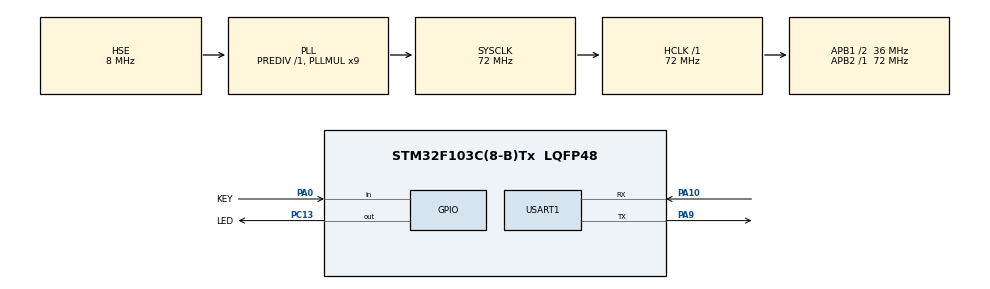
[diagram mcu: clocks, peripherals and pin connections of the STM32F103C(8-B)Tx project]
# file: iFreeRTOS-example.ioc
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FREERTOS.BinarySemaphores01=myBinarySem01,Dynamic,NULL
FREERTOS.CountingSemaphores01=myCountingSem01,2,Dynamic,NULL
FREERTOS.INCLUDE_vTaskDelayUntil=1
FREERTOS.INCLUDE_xQueueGetMutexHolder=1
FREERTOS.INCLUDE_xTimerPendFunctionCall=1
FREERTOS.Mutexes01=myMutex01,Dynamic,NULL
FREERTOS.Queues01=myQueue01,16,uint16_t,0,Dynamic,NULL,NULL
FREERTOS.Tasks01=defaultTask,0,128,StartDefaultTask,Default,NULL,Dynamic,NULL,NULL;LED,0,128,LedTask,Default,NULL,Dynamic,NULL,NULL;LED_Co,-2,128,LedTaskCo,Default,NULL,Dynamic,NULL,NULL;KEY,0,128,KeyTask,Default,NULL,Dynamic,NULL,NULL
FREERTOS.Timers01=myTimer01,Callback01,osTimerPeriodic,Default,NULL,Dynamic,NULL;myTimer02,Callback02,osTimerPeriodic,Default,NULL,Dynamic,NULL
FREERTOS.configUSE_COUNTING_SEMAPHORES=1
FREERTOS.configUSE_TIMERS=1
Mcu.Family=STM32F1
Mcu.Name=STM32F103C(8-B)Tx
Mcu.Package=LQFP48
NVIC.PriorityGroup=NVIC_PRIORITYGROUP_4
NVIC.TIM2_IRQn=true\:15\:0\:false\:false\:true\:false\:false\:true\:true
NVIC.TIM3_IRQn=true\:7\:0\:true\:false\:true\:true\:true\:true\:true
NVIC.TIM4_IRQn=true\:1\:0\:true\:false\:true\:false\:true\:true\:true
NVIC.TimeBase=TIM2_IRQn
NVIC.TimeBaseIP=TIM2
PA0-WKUP.GPIO_Label=KEY
PA0-WKUP.GPIO_PuPd=GPIO_PULLUP
PA0-WKUP.Signal=GPIO_Input
PA10.Mode=Asynchronous
PA10.Signal=USART1_RX
PA13.Mode=Serial_Wire
PA13.Signal=SYS_JTMS-SWDIO
PA14.Mode=Serial_Wire
PA14.Signal=SYS_JTCK-SWCLK
PA9.Mode=Asynchronous
PA9.Signal=USART1_TX
PC13-TAMPER-RTC.GPIO_Label=LED
PC13-TAMPER-RTC.GPIO_Speed=GPIO_SPEED_FREQ_HIGH
PC13-TAMPER-RTC.Signal=GPIO_Output
PC14-OSC32_IN.Mode=LSE-External-Oscillator
PC14-OSC32_IN.Signal=RCC_OSC32_IN
PC15-OSC32_OUT.Mode=LSE-External-Oscillator
PC15-OSC32_OUT.Signal=RCC_OSC32_OUT
PD0-OSC_IN.Mode=HSE-External-Oscillator
PD0-OSC_IN.Signal=RCC_OSC_IN
PD1-OSC_OUT.Mode=HSE-External-Oscillator
PD1-OSC_OUT.Signal=RCC_OSC_OUT
ProjectManager.HeapSize=0x200
ProjectManager.StackSize=0x400
ProjectManager.TargetToolchain=STM32CubeIDE
RCC.AHBFreq_Value=72000000
RCC.APB1CLKDivider=RCC_HCLK_DIV2
RCC.APB1Freq_Value=36000000
RCC.APB1TimFreq_Value=72000000
RCC.APB2Freq_Value=72000000
RCC.APB2TimFreq_Value=72000000
RCC.HCLKFreq_Value=72000000
RCC.PLLMUL=RCC_PLL_MUL9
RCC.PLLSourceVirtual=RCC_PLLSOURCE_HSE
RCC.SYSCLKFreq_VALUE=72000000
RCC.SYSCLKSource=RCC_SYSCLKSOURCE_PLLCLK
RCC.USBFreq_Value=72000000
TIM3.Period=7200-1
TIM3.Prescaler=5000-1
TIM4.Period=7200-1
TIM4.Prescaler=10000-1
USART1.VirtualMode=VM_ASYNC
VP_FREERTOS_VS_CMSIS_V1.Mode=CMSIS_V1
VP_SYS_VS_tim2.Mode=TIM2
VP_TIM3_VS_ClockSourceINT.Mode=Internal
VP_TIM4_VS_ClockSourceINT.Mode=Internal
board=custom

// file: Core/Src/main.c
/* USER CODE BEGIN Header */
/**
  ******************************************************************************
  * @file           : main.c
  * @brief          : Main program body
  ******************************************************************************
  * @attention
  *
  * Copyright (c) 2023 STMicroelectronics.
  * All rights reserved.
  *
  * This software is licensed under terms that can be found in the LICENSE file
  * in the root directory of this software component.
  * If no LICENSE file comes with this software, it is provided AS-IS.
  *
  ******************************************************************************
  */
/* USER CODE END Header */
#include "main.h"
#include "cmsis_os.h"
#include "tim.h"
#include "usart.h"
#include "gpio.h"

/* USER CODE BEGIN Includes */
#include "retarget.h"
/* USER CODE END Includes */

void SystemClock_Config(void);
void MX_FREERTOS_Init(void);

int main(void)
{

  /* MCU Configuration--------------------------------------------------------*/

  /* Reset of all peripherals, Initializes the Flash interface and the Systick. */
  HAL_Init();

  /* Configure the system clock */
  SystemClock_Config();

  /* Initialize all configured peripherals */
  MX_GPIO_Init();
  MX_USART1_UART_Init();
  MX_TIM3_Init();
  MX_TIM4_Init();
  /* USER CODE BEGIN 2 */
  RetargetInit(&huart1); //重定向printf
  HAL_TIM_Base_Start_IT(&htim3); // 开启TIM3中断
  HAL_TIM_Base_Start_IT(&htim4);
  /* USER CODE END 2 */

  /* Call init function for freertos objects (in freertos.c) */
  MX_FREERTOS_Init();

  /* Start scheduler */
  osKernelStart();

  /* We should never get here as control is now taken by the scheduler */
  /* Infinite loop */
  while (1)
  {

  }
}

void SystemClock_Config(void)
{
  RCC_OscInitTypeDef RCC_OscInitStruct = {0};
  RCC_ClkInitTypeDef RCC_ClkInitStruct = {0};

  /** Initializes the RCC Oscillators according to the specified parameters
  * in the RCC_OscInitTypeDef structure.
  */
  RCC_OscInitStruct.OscillatorType = RCC_OSCILLATORTYPE_HSE;
  RCC_OscInitStruct.HSEState = RCC_HSE_ON;
  RCC_OscInitStruct.HSEPredivValue = RCC_HSE_PREDIV_DIV1;
  RCC_OscInitStruct.HSIState = RCC_HSI_ON;
  RCC_OscInitStruct.PLL.PLLState = RCC_PLL_ON;
  RCC_OscInitStruct.PLL.PLLSource = RCC_PLLSOURCE_HSE;
  RCC_OscInitStruct.PLL.PLLMUL = RCC_PLL_MUL9;
  if (HAL_RCC_OscConfig(&RCC_OscInitStruct) != HAL_OK)
  {
    Error_Handler();
  }

  /** Initializes the CPU, AHB and APB buses clocks
  */
  RCC_ClkInitStruct.ClockType = RCC_CLOCKTYPE_HCLK|RCC_CLOCKTYPE_SYSCLK
                              |RCC_CLOCKTYPE_PCLK1|RCC_CLOCKTYPE_PCLK2;
  RCC_ClkInitStruct.SYSCLKSource = RCC_SYSCLKSOURCE_PLLCLK;
  RCC_ClkInitStruct.AHBCLKDivider = RCC_SYSCLK_DIV1;
  RCC_ClkInitStruct.APB1CLKDivider = RCC_HCLK_DIV2;
  RCC_ClkInitStruct.APB2CLKDivider = RCC_HCLK_DIV1;

  if (HAL_RCC_ClockConfig(&RCC_ClkInitStruct, FLASH_LATENCY_2) != HAL_OK)
  {
    Error_Handler();
  }
}

void HAL_TIM_PeriodElapsedCallback(TIM_HandleTypeDef *htim)
{
  if (htim->Instance == TIM2) {
    HAL_IncTick();
  }
  /* USER CODE BEGIN Callback 1 */

  if (htim->Instance == TIM3) {
    printf("TIM3\r\n");
  }

  if (htim->Instance == TIM4) {
	printf("TIM4\r\n");
  }
  /* USER CODE END Callback 1 */
}

void Error_Handler(void)
{
  __disable_irq();
  while (1)
  {
  }
}

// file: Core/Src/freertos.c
/* USER CODE BEGIN Header */
/**
  ******************************************************************************
  * File Name          : freertos.c
  * Description        : Code for freertos applications
  ******************************************************************************
  * @attention
  *
  * Copyright (c) 2023 STMicroelectronics.
  * All rights reserved.
  *
  * This software is licensed under terms that can be found in the LICENSE file
  * in the root directory of this software component.
  * If no LICENSE file comes with this software, it is provided AS-IS.
  *
  ******************************************************************************
  */
/* USER CODE END Header */

#include "FreeRTOS.h"
#include "task.h"
#include "main.h"
#include "cmsis_os.h"

/* USER CODE BEGIN Includes */
#include "retarget.h"
/* USER CODE END Includes */

osThreadId defaultTaskHandle;
osThreadId LEDHandle;
osThreadId LED_CoHandle;
osThreadId KEYHandle;
osMessageQId myQueue01Handle;
osTimerId myTimer01Handle;
osTimerId myTimer02Handle;
osMutexId myMutex01Handle;
osSemaphoreId myBinarySem01Handle;
osSemaphoreId myCountingSem01Handle;

/* USER CODE BEGIN FunctionPrototypes */

EventGroupHandle_t Event_Handle =NULL; //事件组句柄

/* USER CODE END FunctionPrototypes */

void StartDefaultTask(void const * argument);
void LedTask(void const * argument);
void LedTaskCo(void const * argument);
void KeyTask(void const * argument);
void Callback01(void const * argument);
void Callback02(void const * argument);

void MX_FREERTOS_Init(void); /* (MISRA C 2004 rule 8.1) */

/* GetIdleTaskMemory prototype (linked to static allocation support) */
void vApplicationGetIdleTaskMemory( StaticTask_t **ppxIdleTaskTCBBuffer, StackType_t **ppxIdleTaskStackBuffer, uint32_t *pulIdleTaskStackSize );

/* GetTimerTaskMemory prototype (linked to static allocation support) */
void vApplicationGetTimerTaskMemory( StaticTask_t **ppxTimerTaskTCBBuffer, StackType_t **ppxTimerTaskStackBuffer, uint32_t *pulTimerTaskStackSize );

/* USER CODE BEGIN GET_IDLE_TASK_MEMORY */
static StaticTask_t xIdleTaskTCBBuffer;
static StackType_t xIdleStack[configMINIMAL_STACK_SIZE];

void vApplicationGetIdleTaskMemory( StaticTask_t **ppxIdleTaskTCBBuffer, StackType_t **ppxIdleTaskStackBuffer, uint32_t *pulIdleTaskStackSize )
{
  *ppxIdleTaskTCBBuffer = &xIdleTaskTCBBuffer;
  *ppxIdleTaskStackBuffer = &xIdleStack[0];
  *pulIdleTaskStackSize = configMINIMAL_STACK_SIZE;
  /* place for user code */
}
/* USER CODE END GET_IDLE_TASK_MEMORY */

/* USER CODE BEGIN GET_TIMER_TASK_MEMORY */
static StaticTask_t xTimerTaskTCBBuffer;
static StackType_t xTimerStack[configTIMER_TASK_STACK_DEPTH];

void vApplicationGetTimerTaskMemory( StaticTask_t **ppxTimerTaskTCBBuffer, StackType_t **ppxTimerTaskStackBuffer, uint32_t *pulTimerTaskStackSize )
{
  *ppxTimerTaskTCBBuffer = &xTimerTaskTCBBuffer;
  *ppxTimerTaskStackBuffer = &xTimerStack[0];
  *pulTimerTaskStackSize = configTIMER_TASK_STACK_DEPTH;
  /* place for user code */
}
/* USER CODE END GET_TIMER_TASK_MEMORY */

void MX_FREERTOS_Init(void) {
  /* Create the mutex(es) */
  /* definition and creation of myMutex01 */
  osMutexDef(myMutex01);
  myMutex01Handle = osMutexCreate(osMutex(myMutex01));

  /* Create the semaphores(s) */
  /* definition and creation of myBinarySem01 */
  osSemaphoreDef(myBinarySem01);
  myBinarySem01Handle = osSemaphoreCreate(osSemaphore(myBinarySem01), 1);

  /* definition and creation of myCountingSem01 */
  osSemaphoreDef(myCountingSem01);
  myCountingSem01Handle = osSemaphoreCreate(osSemaphore(myCountingSem01), 2);

  /* Create the timer(s) */
  /* definition and creation of myTimer01 */
  osTimerDef(myTimer01, Callback01);
  myTimer01Handle = osTimerCreate(osTimer(myTimer01), osTimerPeriodic, NULL);

  /* definition and creation of myTimer02 */
  osTimerDef(myTimer02, Callback02);
  myTimer02Handle = osTimerCreate(osTimer(myTimer02), osTimerPeriodic, NULL);

  /* USER CODE BEGIN RTOS_TIMERS */
  /* start timers, add new ones, ... */
  xTimerChangePeriod(myTimer01Handle, 500, 200); // 修改定时器1周期：500ms, 发送队列等待时间200ms（任填）
  xTimerChangePeriod(myTimer02Handle, 1000, 200);
  /* USER CODE END RTOS_TIMERS */

  /* Create the queue(s) */
  /* definition and creation of myQueue01 */
  osMessageQDef(myQueue01, 16, uint16_t);
  myQueue01Handle = osMessageCreate(osMessageQ(myQueue01), NULL);

  /* USER CODE BEGIN RTOS_QUEUES */
  /* 创建 Event_Handle */
  Event_Handle = xEventGroupCreate();
  /* USER CODE END RTOS_QUEUES */

  /* Create the thread(s) */
  /* definition and creation of defaultTask */
  osThreadDef(defaultTask, StartDefaultTask, osPriorityNormal, 0, 128);
  defaultTaskHandle = osThreadCreate(osThread(defaultTask), NULL);

  /* definition and creation of LED */
  osThreadDef(LED, LedTask, osPriorityNormal, 0, 128);
  LEDHandle = osThreadCreate(osThread(LED), NULL);

  /* definition and creation of LED_Co */
  osThreadDef(LED_Co, LedTaskCo, osPriorityLow, 0, 128);
  LED_CoHandle = osThreadCreate(osThread(LED_Co), NULL);

  /* definition and creation of KEY */
  osThreadDef(KEY, KeyTask, osPriorityNormal, 0, 128);
  KEYHandle = osThreadCreate(osThread(KEY), NULL);

}

/* USER CODE BEGIN Header_StartDefaultTask */
/**
  * @brief  Function implementing the defaultTask thread.
  * @param  argument: Not used
  * @retval None
  * @note nop: V1.0.7
  */
/* USER CODE END Header_StartDefaultTask */
void StartDefaultTask(void const * argument)
{
  /* USER CODE BEGIN StartDefaultTask */
  /* Infinite loop */
  for(;;)
  {
	  printf("Program Running\n");
	  vTaskDelay(5000);
    osDelay(1);
  }
  /* USER CODE END StartDefaultTask */
}

/* USER CODE BEGIN Header_LedTask */
/**
* @brief Function implementing the LED thread.
* @note Task1 -> 任务通知.模拟消息队列.接收消息:  V1.0.11
* @param argument: Not used
* @retval None
*/
/* USER CODE END Header_LedTask */
void LedTask(void const * argument)
{
  /* USER CODE BEGIN LedTask */
	BaseType_t xReturn;
	uint32_t r_addr; /* 定义一个事件接收变量 */
  /* Infinite loop */
  for(;;)
  {

	  //获取任务通知 ,没获取到则一直等待
	  xReturn = xTaskNotifyWait(0x0, //进入函数的时候不清除任务
			   0xffffffff, //退出函数的时候清除所有的bitR
			   &r_addr, //保存任务通知值
			   0); //阻塞时间, 无限阻塞时需要考虑任务优先级问题

	  if( pdTRUE == xReturn )
	  {
		  printf ( "Receive Task: %s\r\n", (uint8_t *)r_addr); // 邮箱消息
		  HAL_GPIO_TogglePin(LED_GPIO_Port, LED_Pin);
	  }
	  vTaskDelay(20);

  }
  /* USER CODE END LedTask */
}

/* USER CODE BEGIN Header_LedTaskCo */
/**
* @brief Function implementing the LED_Co thread.
* @note Task2 -> 任务通知.模拟事件组.倒计时:  V1.0.10
* @param argument: Not used
* @retval None
*/
/* USER CODE END Header_LedTaskCo */
void LedTaskCo(void const * argument)
{
  /* USER CODE BEGIN LedTaskCo */
	uint32_t n=10;
	TickType_t xLastWakeTime;
    xLastWakeTime = xTaskGetTickCount();
  /* Infinite loop */
  for(;;)
  {

	  n--;
	  if(n==1){
		  printf("Task2 Ready...\r\n");
		  xTaskNotify(LEDHandle, 0x0001, eSetBits); /* 触发一个事件 1 */
		  n=10;
	  }
	  else printf("CountDown: %ld\r\n", n);

	  vTaskDelayUntil(&xLastWakeTime,100000); //绝对延时10s
  }
  /* USER CODE END LedTaskCo */
}

/* USER CODE BEGIN Header_KeyTask */
/**
* @brief Function implementing the KEY thread.
* @note Task3 -> 中断管理.屏蔽/恢复中断: V1.0.13
* 优先级低于、等于configMAX_SYSCALL_INTERRUPT_PRIORITY的中断将会被屏蔽
* @param argument: Not used
* @retval None
*/
/* USER CODE END Header_KeyTask */
void KeyTask(void const * argument)
{
  /* USER CODE BEGIN KeyTask */
	static BaseType_t xPress = pdFALSE;
  /* Infinite loop */
  for(;;)
  {
	  if(HAL_GPIO_ReadPin(KEY_GPIO_Port, KEY_Pin) == GPIO_PIN_RESET)
	  {
		  osDelay(10);
		  if(HAL_GPIO_ReadPin(KEY_GPIO_Port, KEY_Pin) == GPIO_PIN_RESET)
		  {
			  if(xPress == pdFALSE)
			  {
				  taskENTER_CRITICAL(); //屏蔽中断
				 printf("TIM NVIC Stop!\r\n");
				 xPress = pdTRUE;
			  }
			  else{
				  taskEXIT_CRITICAL(); //允许中断
				 printf("TIM NVIC Start!\r\n");
				 xPress = pdFALSE;
			  }

		  }
		  while(HAL_GPIO_ReadPin(KEY_GPIO_Port, KEY_Pin) == GPIO_PIN_RESET); //检测松开
	  }
    osDelay(1);
  }
  /* USER CODE END KeyTask */
}

/* Callback01 function */
void Callback01(void const * argument)
{
  /* USER CODE BEGIN Callback01 */
	printf("Timer1\r\n");
  /* USER CODE END Callback01 */
}

/* Callback02 function */
void Callback02(void const * argument)
{
  /* USER CODE BEGIN Callback02 */
	printf("Timer2\r\n");
  /* USER CODE END Callback02 */
}
